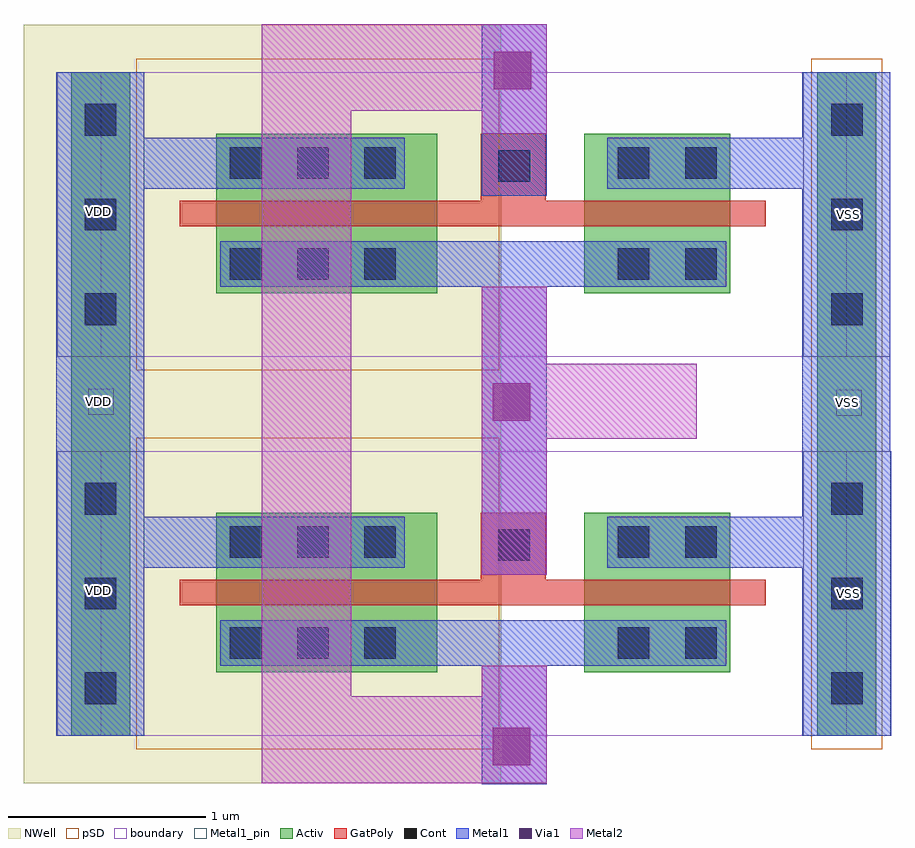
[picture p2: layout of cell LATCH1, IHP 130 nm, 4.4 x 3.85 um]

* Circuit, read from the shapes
.subckt LATCH1 VDD VSS
XM1 VSS n1 n2 VSS sg13_lv_nmos w=0.74u l=0.13u
XM2 VSS n2 n1 VSS sg13_lv_nmos w=0.74u l=0.13u
XM3 VDD n1 n2 VDD sg13_lv_pmos w=1.12u l=0.13u
XM4 VDD n2 n1 VDD sg13_lv_pmos w=1.12u l=0.13u
.ends

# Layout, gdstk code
import gdstk
lib = gdstk.Library(unit=1e-6, precision=1e-09)
def R(c, l, rs):  # rectangles x0, y0, x1, y1
    for r in rs: c.add(gdstk.rectangle(r[:2], r[2:], *l))
def P(c, l, *ps):  # polygons
    for p in ps: c.add(gdstk.Polygon(p, *l))
Activ = (1, 0)
GatPoly = (5, 0)
Cont = (6, 0)
Metal1 = (8, 0)
Metal1_pin = (8, 2)
Metal2 = (10, 0)
pSD = (14, 0)
Via1 = (19, 0)
NWell = (31, 0)
boundary = (189, 4)

latch1 = lib.new_cell('LATCH1')
R(latch1, Activ, [(0.24,0.245,0.54,1.685), (0.24,0.245,0.54,1.685), (4.02,0.245,4.32,1.685), (4.02,0.245,4.32,1.685), (0.975,0.565,2.095,1.375), (0.975,0.565,2.095,1.375), (2.84,0.565,3.575,1.375), (2.84,0.565,3.58,1.375), (0.24,1.683,0.54,2.165), (0.24,1.683,0.54,2.165), (4.02,1.685,4.32,2.165), (4.02,1.685,4.32,2.165), (0.24,2.165,0.54,3.605), (0.24,2.165,0.54,3.605), (4.02,2.165,4.32,3.605), (4.02,2.165,4.32,3.605), (0.975,2.485,2.095,3.295), (0.975,2.485,2.095,3.295), (2.84,2.485,3.575,3.295), (2.84,2.485,3.58,3.295)])
P(latch1, GatPoly, [(0.79,2.825),(0.79,2.955),(2.315,2.955),(2.315,3.295),(2.645,3.295),(2.645,2.955),(3.75,2.955),(3.75,2.825)],
  [(0.79,2.825),(0.79,2.955),(2.315,2.955),(2.315,3.295),(2.645,3.295),(2.645,2.955),(3.76,2.955),(3.76,2.825)],
  [(0.79,0.905),(0.79,1.035),(2.315,1.035),(2.315,1.375),(2.645,1.375),(2.645,1.035),(3.75,1.035),(3.75,0.905)],
  [(0.79,0.905),(0.79,1.035),(2.315,1.035),(2.315,1.375),(2.645,1.375),(2.645,1.035),(3.76,1.035),(3.76,0.905)])
R(latch1, Cont, [(0.31,0.405,0.47,0.565), (0.31,0.405,0.47,0.565), (0.31,0.405,0.47,0.565), (0.31,0.405,0.47,0.565), (4.09,0.405,4.25,0.565), (4.09,0.405,4.25,0.565), (4.09,0.405,4.25,0.565), (4.09,0.405,4.25,0.565), (1.045,0.635,1.205,0.795), (1.045,0.635,1.205,0.795), (1.385,0.635,1.545,0.795), (1.385,0.635,1.545,0.795), (1.725,0.635,1.885,0.795), (1.725,0.635,1.885,0.795), (3.01,0.635,3.17,0.795), (3.01,0.635,3.17,0.795), (3.35,0.635,3.51,0.795), (3.35,0.635,3.51,0.795), (0.31,0.885,0.47,1.045), (0.31,0.885,0.47,1.045), (0.31,0.885,0.47,1.045), (0.31,0.885,0.47,1.045), (4.09,0.885,4.25,1.045), (4.09,0.885,4.25,1.045), (4.09,0.885,4.25,1.045), (4.09,0.885,4.25,1.045), (2.405,1.13,2.565,1.29), (2.405,1.13,2.565,1.29), (1.045,1.145,1.205,1.305), (1.045,1.145,1.205,1.305), (1.385,1.145,1.545,1.305), (1.385,1.145,1.545,1.305), (1.725,1.145,1.885,1.305), (1.725,1.145,1.885,1.305), (3.01,1.145,3.17,1.305), (3.01,1.145,3.17,1.305), (3.35,1.145,3.51,1.305), (3.35,1.145,3.51,1.305), (0.31,1.365,0.47,1.525), (0.31,1.365,0.47,1.525), (0.31,1.365,0.47,1.525), (0.31,1.365,0.47,1.525), (4.09,1.365,4.25,1.525), (4.09,1.365,4.25,1.525), (4.09,1.365,4.25,1.525), (4.09,1.365,4.25,1.525), (0.31,2.325,0.47,2.485), (0.31,2.325,0.47,2.485), (0.31,2.325,0.47,2.485), (0.31,2.325,0.47,2.485), (4.09,2.325,4.25,2.485), (4.09,2.325,4.25,2.485), (4.09,2.325,4.25,2.485), (4.09,2.325,4.25,2.485), (1.045,2.555,1.205,2.715), (1.045,2.555,1.205,2.715), (1.385,2.555,1.545,2.715), (1.385,2.555,1.545,2.715), (1.725,2.555,1.885,2.715), (1.725,2.555,1.885,2.715), (3.01,2.555,3.17,2.715), (3.01,2.555,3.17,2.715), (3.35,2.555,3.51,2.715), (3.35,2.555,3.51,2.715), (0.31,2.805,0.47,2.965), (0.31,2.805,0.47,2.965), (0.31,2.805,0.47,2.965), (0.31,2.805,0.47,2.965), (4.09,2.805,4.25,2.965), (4.09,2.805,4.25,2.965), (4.09,2.805,4.25,2.965), (4.09,2.805,4.25,2.965), (2.405,3.05,2.565,3.21), (2.405,3.05,2.565,3.21), (1.045,3.065,1.205,3.225), (1.045,3.065,1.205,3.225), (1.385,3.065,1.545,3.225), (1.385,3.065,1.545,3.225), (1.725,3.065,1.885,3.225), (1.725,3.065,1.885,3.225), (3.01,3.065,3.17,3.225), (3.01,3.065,3.17,3.225), (3.35,3.065,3.51,3.225), (3.35,3.065,3.51,3.225), (0.31,3.285,0.47,3.445), (0.31,3.285,0.47,3.445), (0.31,3.285,0.47,3.445), (0.31,3.285,0.47,3.445), (4.09,3.285,4.25,3.445), (4.09,3.285,4.25,3.445), (4.09,3.285,4.25,3.445), (4.09,3.285,4.25,3.445)])
R(latch1, Metal1, [(2.32,0,2.65,0.6), (2.32,0,2.65,0.6), (2.326,0.005,2.646,0.83), (2.326,0.005,2.646,0.83), (0.995,0.6,3.56,0.83), (0.995,0.6,3.56,0.83), (2.32,1.06,2.65,2.52), (2.32,1.06,2.65,2.52), (2.32,1.06,2.65,1.375), (2.32,1.06,2.65,1.375), (0.165,1.683,0.61,2.165), (0.17,1.683,0.605,2.165), (3.945,1.685,4.39,2.165), (3.95,1.685,4.39,2.165), (0.995,2.52,3.56,2.75), (0.995,2.52,3.56,2.75), (2.32,2.98,2.65,3.295), (2.32,2.98,2.65,3.295), (2.32,2.984,2.65,3.85), (2.32,2.984,2.65,3.85)])
P(latch1, Metal1, [(3.945,0.245),(3.945,1.095),(2.955,1.095),(2.955,1.355),(3.945,1.355),(3.945,1.685),(4.395,1.685),(4.395,0.245)],
  [(3.945,2.165),(3.945,3.015),(2.955,3.015),(2.955,3.275),(3.945,3.275),(3.945,3.605),(4.39,3.605),(4.39,2.165)],
  [(0.165,2.165),(0.165,3.605),(0.61,3.605),(0.61,3.275),(1.93,3.275),(1.93,3.015),(0.605,3.015),(0.605,2.165)],
  [(0.165,2.165),(0.165,3.605),(0.605,3.605),(0.605,3.275),(1.93,3.275),(1.93,3.015),(0.61,3.015),(0.61,2.165)],
  [(0.165,0.245),(0.165,1.685),(0.605,1.685),(0.605,1.355),(1.93,1.355),(1.93,1.095),(0.61,1.095),(0.61,0.245)],
  [(0.165,0.245),(0.165,1.685),(0.61,1.685),(0.61,1.355),(1.93,1.355),(1.93,1.095),(0.605,1.095),(0.605,0.245)],
  [(3.945,0.245),(3.945,1.095),(2.955,1.095),(2.955,1.355),(3.945,1.355),(3.945,1.685),(4.385,1.685),(4.385,0.245)],
  [(3.945,2.165),(3.945,3.015),(2.955,3.015),(2.955,3.275),(3.945,3.275),(3.945,3.605),(4.385,3.605),(4.385,2.165)])
R(latch1, Metal1_pin, [(0.17,0.245,0.61,1.685), (0.17,0.245,0.61,1.685), (3.95,0.245,4.39,1.685), (3.95,0.245,4.391,1.685), (4.116,1.866,4.246,1.996), (4.116,1.866,4.246,1.996), (0.326,1.871,0.456,2.001), (0.326,1.871,0.456,2.001), (0.17,2.165,0.61,3.605), (0.17,2.165,0.61,3.605), (3.95,2.165,4.39,3.605), (3.95,2.165,4.39,3.605)])
R(latch1, Metal2, [(1.205,0.005,2.326,0.445), (1.205,0.005,2.326,0.445), (2.32,0.005,2.65,0.6), (2.32,0.005,2.65,0.6), (2.646,0.005,2.65,0.445), (2.646,0.005,2.65,0.445), (1.205,0.008,1.66,3.846), (1.205,0.008,1.66,3.846), (2.32,1.06,2.65,2.52), (2.32,1.06,2.65,2.52), (2.32,3.295,2.65,3.846), (2.32,3.295,2.65,3.846), (1.205,3.41,2.321,3.85), (1.205,3.41,2.321,3.85), (2.32,3.41,2.65,3.85), (2.32,3.41,2.65,3.85)])
R(latch1, pSD, [(0.57,0.175,2.41,1.755), (0.57,0.175,2.41,1.755), (3.99,0.175,4.35,1.755), (3.99,0.175,4.35,1.755), (3.99,1.755,4.35,2.095), (3.99,1.755,4.35,2.095), (0.57,2.095,2.41,3.675), (0.57,2.095,2.41,3.675), (3.99,2.095,4.35,3.675), (3.99,2.095,4.35,3.675)])
R(latch1, Via1, [(2.375,0.095,2.565,0.285), (2.375,0.095,2.565,0.285), (2.375,1.84,2.565,2.03), (2.375,1.84,2.565,2.03), (2.38,3.52,2.57,3.71), (2.38,3.52,2.57,3.71)])
R(latch1, NWell, [(0,0.005,2.42,1.925), (0,0.005,2.42,1.925), (0,1.925,2.42,3.845), (0,1.925,2.42,3.845)])
R(latch1, boundary, [(0.39,0.245,4.17,1.685), (0.39,0.245,4.17,1.685), (0.39,2.165,4.17,3.605), (0.39,2.165,4.17,3.605)])
latch1.add(gdstk.FlexPath([(2.475,1.94),(3.41,1.94)], 0.38, ends="flush", simple_path=True, layer=10, datatype=0))  # Metal2
latch1.add(gdstk.Label('VDD', (0.38,0.98), layer=8, texttype=25))
latch1.add(gdstk.Label('VSS', (4.18,0.965), layer=8, texttype=25))
latch1.add(gdstk.Label('VDD', (0.38,2.9), layer=8, texttype=25))
latch1.add(gdstk.Label('VSS', (4.18,2.885), layer=8, texttype=25))
latch1.add(gdstk.Label('VSS', (4.171,1.931), layer=8, texttype=25))
latch1.add(gdstk.Label('VDD', (0.381,1.936), layer=8, texttype=25))
latch1.add(gdstk.Label('VDD', (0.38,0.98), layer=8, texttype=25))
latch1.add(gdstk.Label('VSS', (4.18,0.965), layer=8, texttype=25))
latch1.add(gdstk.Label('VDD', (0.38,2.9), layer=8, texttype=25))
latch1.add(gdstk.Label('VSS', (4.18,2.885), layer=8, texttype=25))
latch1.add(gdstk.Label('VSS', (4.171,1.931), layer=8, texttype=25))
latch1.add(gdstk.Label('VDD', (0.381,1.936), layer=8, texttype=25))

lib.write_gds('LATCH1.gds')
